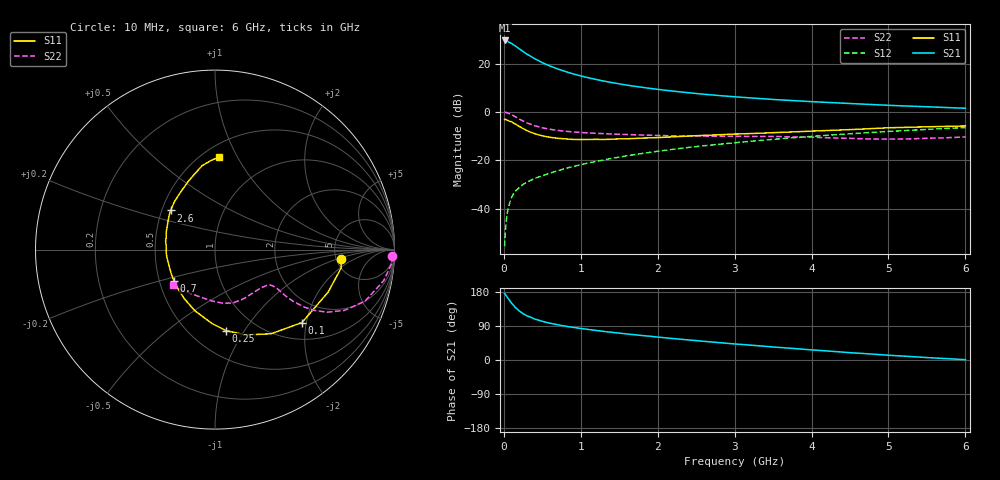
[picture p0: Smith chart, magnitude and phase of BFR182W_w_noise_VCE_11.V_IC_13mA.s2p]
! Infineon Technologies  Discrete & RF Semiconductors
! BFR182W
! VCE =  11. V,  IC =  13 mA
! Common Emitter S-Parameters:  Jan 2017
# GHz  S  MA  R  50
!  f  S11  S21  S12  S22
! GHz  MAG  ANG  MAG  ANG  MAG  ANG  MAG  ANG
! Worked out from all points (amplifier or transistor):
!   77 points, 10 MHz to 6 GHz, reference 50 ohm
!   highest |S21| = 29.5 dB at 10 MHz (marker M1)
!   |S21| within 3 dB of that: start of sweep to 180.9 MHz
!   unconditionally stable (mu >= 1): 989.1 MHz to 2.557 GHz
!   at 130 MHz: K = 0.34, MSG = 30.7 dB, |S12| = -33.6 dB
!   at 2.2 GHz: K = 1.02, MAG = 11.1 dB, |S12| = -15.4 dB
!   at 6 GHz: K = 0.86, MSG = 4.0 dB, |S12| = -6.4 dB
!   lowest NFmin = 1.17 dB at 450 MHz
!   S11 on the Smith chart (normalised r, x): 10 MHz: 5.53, -1.11; 100 MHz: 1.39, -1.89; 250 MHz: 0.73, -0.83; 700 MHz: 0.60, -0.22; 2.6 GHz: 0.56, +0.27; 6 GHz: 0.60, +0.84
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0.01  0.7042 -4.1  30.02 175.6  0.0017 84.5  0.9886 -2.0
0.02  0.7103 -8.3  29.91 172.9  0.0035 79.3  0.9885 -4.3
0.05  0.6731 -20.7  28.74 163.9  0.0091 79.9  0.9561 -10.4
0.1  0.6324 -40.0  26.15 150.0  0.0172 72.5  0.8835 -19.0
0.15  0.5637 -56.3  23.07 138.6  0.0232 67.0  0.7959 -25.2
0.2  0.5049 -70.3  20.19 129.5  0.0275 64.0  0.717 -29.1
0.25  0.4555 -82.2  17.76 122.2  0.0321 62.4  0.6512 -31.4
0.3  0.4132 -92.1  15.65 116.6  0.0355 61.1  0.5961 -32.7
0.4  0.3582 -108.4  12.61 108.1  0.0423 62.7  0.5216 -33.5
0.5  0.3226 -122.0  10.45 102.0  0.0484 63.2  0.4728 -33.3
0.6  0.3004 -133.4  8.911 97.0  0.055 64.0  0.4403 -32.8
0.7  0.2867 -143.0  7.738 93.0  0.0613 65.9  0.4174 -32.2
0.9  0.2721 -158.5  6.128 86.1  0.075 66.5  0.3879 -32.0
1.1  0.2715 -170.9  5.095 80.6  0.0891 67.5  0.3706 -32.5
1.3  0.2713 178.5  4.35 75.5  0.1028 67.6  0.3576 -33.6
1.5  0.2793 170.2  3.81 71.0  0.1173 67.6  0.3469 -35.6
2.1  0.3018 150.8  2.816 58.6  0.1624 65.7  0.3256 -44.4
2.6  0.3295 138.6  2.329 49.3  0.2009 63.0  0.3175 -54.1
3.1  0.3545 128.0  2.011 40.9  0.2399 59.8  0.3146 -64.0
4.1  0.4092 111.1  1.609 25.3  0.3221 52.0  0.2981 -83.8
5.1  0.4769 97.6  1.356 11.4  0.4049 42.9  0.2765 -112.9
6  0.5159 87.5  1.196 0.8  0.4766 34.0  0.3058 -139.9
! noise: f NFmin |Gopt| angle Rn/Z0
0.45  1.17  0.04  108  0.14
0.9  1.26  0.05  122  0.14
1.9  1.73  0.23  -151  0.14
2.4  2  0.22  -136  0.21
